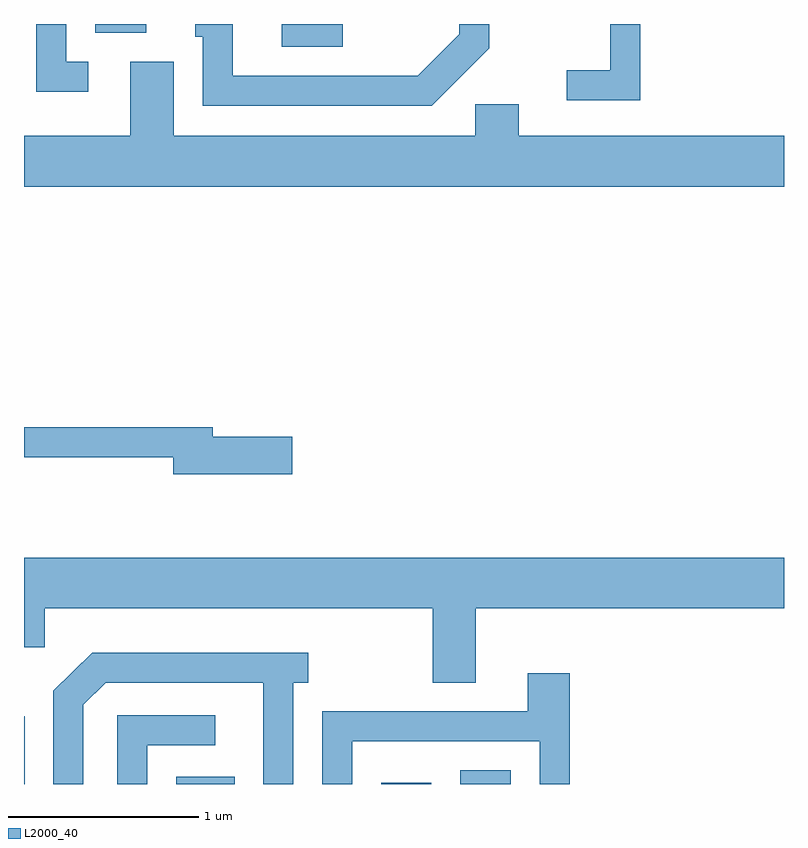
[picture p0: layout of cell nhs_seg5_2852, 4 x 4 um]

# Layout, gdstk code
import gdstk
lib = gdstk.Library(unit=1e-6, precision=1e-09)
def R(c, l, rs):  # rectangles x0, y0, x1, y1
    for r in rs: c.add(gdstk.rectangle(r[:2], r[2:], *l))
def P(c, l, *ps):  # polygons
    for p in ps: c.add(gdstk.Polygon(p, *l))
L2000_40 = (2000, 40)

nhs_seg5_2852 = lib.new_cell('nhs_seg5_2852')
R(nhs_seg5_2852, L2000_40, [(269.611,1478.072,269.614,1478.429), (270.411,1478.072,270.719,1478.109), (271.491,1478.072,271.754,1478.079), (271.906,1478.072,272.174,1478.144), (270.968,1481.951,271.289,1482.072), (269.986,1482.026,270.254,1482.072)])
P(nhs_seg5_2852, L2000_40, [(272.854,1482.072),(272.696,1482.072),(272.696,1481.829),(272.468,1481.829),(272.468,1481.671),(272.854,1481.671)],
  [(269.948,1481.874),(269.834,1481.874),(269.834,1482.072),(269.676,1482.072),(269.676,1481.716),(269.948,1481.716)],
  [(272.059,1481.944),(272.059,1482.072),(271.901,1482.072),(271.901,1482.017),(271.684,1481.799),(270.709,1481.799),(270.709,1482.072),(270.511,1482.072),(270.511,1482.006),(270.551,1482.006),(270.551,1481.641),(271.757,1481.641)],
  [(273.611,1481.484),(272.214,1481.484),(272.214,1481.649),(271.986,1481.649),(271.986,1481.484),(270.399,1481.484),(270.399,1481.874),(270.171,1481.874),(270.171,1481.484),(269.611,1481.484),(269.611,1481.216),(273.611,1481.216)],
  [(271.024,1479.899),(270.604,1479.899),(270.604,1479.949),(269.611,1479.949),(269.611,1479.791),(270.396,1479.791),(270.396,1479.701),(271.024,1479.701)],
  [(271.989,1478.996),(273.611,1478.996),(273.611,1479.264),(269.611,1479.264),(269.611,1478.791),(269.719,1478.791),(269.719,1478.996),(271.761,1478.996),(271.761,1478.606),(271.989,1478.606)],
  [(269.924,1478.489),(270.042,1478.606),(270.871,1478.606),(270.871,1478.072),(271.029,1478.072),(271.029,1478.606),(271.108,1478.606),(271.108,1478.764),(269.969,1478.764),(269.766,1478.562),(269.766,1478.072),(269.924,1478.072)],
  [(271.339,1478.296),(272.326,1478.296),(272.326,1478.072),(272.484,1478.072),(272.484,1478.654),(272.261,1478.654),(272.261,1478.454),(271.181,1478.454),(271.181,1478.072),(271.339,1478.072)],
  [(270.259,1478.276),(270.618,1478.276),(270.618,1478.434),(270.101,1478.434),(270.101,1478.072),(270.259,1478.072)])

lib.write_gds('nhs_seg5_2852.gds')
